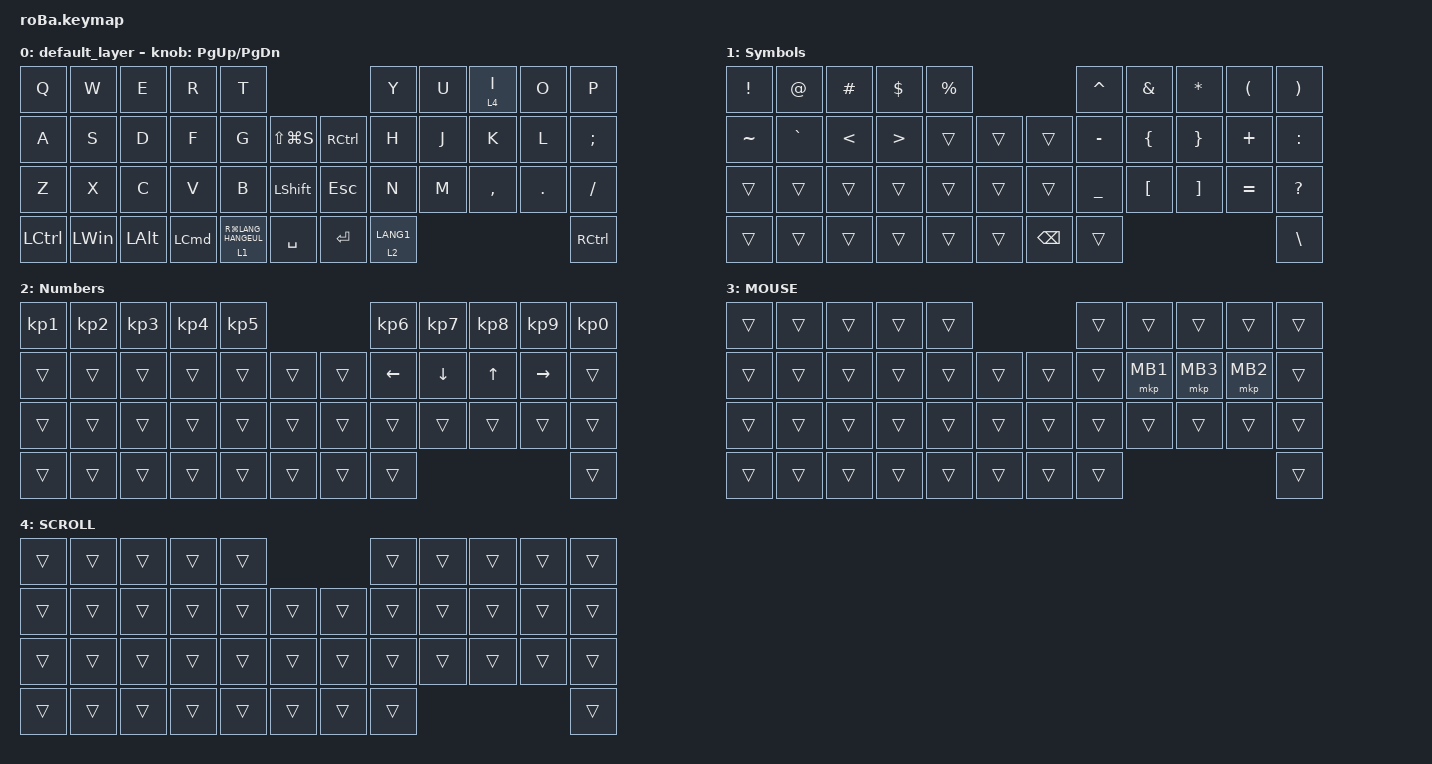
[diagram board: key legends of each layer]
#include <behaviors.dtsi>
#include <dt-bindings/zmk/keys.h>
#include <dt-bindings/zmk/pointing.h>

#define MOUSE 3
#define SCROLL 4

&mt {
    flavor = "balanced";
    quick-tap-ms = <0>;
};

/ {
    combos {
        compatible = "zmk,combos";

        tab {
            bindings = <&kp TAB>;
            key-positions = <11 12>;
        };

        shift_tab {
            bindings = <&kp LS(TAB)>;
            key-positions = <12 13>;
        };

        muhennkann {
            bindings = <&to_layer_0 INT_MUHENKAN>;
            key-positions = <11 10>;
        };

        double_quotation {
            bindings = <&kp DOUBLE_QUOTES>;
            key-positions = <20 21>;
        };

        eq {
            bindings = <&kp EQUAL>;
            key-positions = <24 25>;
        };
    };

    macros {
        to_layer_0: to_layer_0 {
            compatible = "zmk,behavior-macro-one-param";
            #binding-cells = <1>;
            bindings = <&to 0 &macro_param_1to1 &kp MACRO_PLACEHOLDER>;
            label = "TO_LAYER_0";
        };
    };

    behaviors {
        lt_to_layer_0: lt_to_layer_0 {
            compatible = "zmk,behavior-hold-tap";
            label = "LAYER_TAP_TO_0";
            bindings = <&mo>, <&to_layer_0>;

            #binding-cells = <2>;
            tapping-term-ms = <200>;
        };
    };

    keymap {
        compatible = "zmk,keymap";

        default_layer {
            bindings = <
&kp Q      &kp W         &kp E         &kp R             &kp T                                                          &kp Y        &kp U  &lt 4 I    &kp O    &kp P
&kp A      &kp S         &kp D         &kp F             &kp G                   &kp LS(LG(S))       &kp RIGHT_CONTROL  &kp H        &kp J  &kp K      &kp L    &kp SEMICOLON
&kp Z      &kp X         &kp C         &kp V             &kp B                   &kp LEFT_SHIFT      &kp ESCAPE         &kp N        &kp M  &kp COMMA  &kp DOT  &kp SLASH
&kp LCTRL  &kp LEFT_WIN  &kp LEFT_ALT  &kp LEFT_COMMAND  &lt 1 RG(LANG_HANGEUL)  &kp SPACE           &kp ENTER          &lt 2 LANG1                             &kp RIGHT_CONTROL
            >;

            sensor-bindings = <&inc_dec_kp PG_UP PAGE_DOWN>;
        };

        Symbols {
            bindings = <
&kp EXCLAMATION  &kp AT_SIGN  &kp HASH       &kp DOLLAR        &kp PERCENT                             &kp CARET       &kp AMPERSAND     &kp ASTERISK       &kp LEFT_PARENTHESIS  &kp RIGHT_PARENTHESIS
&kp TILDE        &kp GRAVE    &kp LESS_THAN  &kp GREATER_THAN  &trans       &trans      &trans         &kp MINUS       &kp LEFT_BRACE    &kp RIGHT_BRACE    &kp PLUS              &kp COLON
&trans           &trans       &trans         &trans            &trans       &trans      &trans         &kp UNDERSCORE  &kp LEFT_BRACKET  &kp RIGHT_BRACKET  &kp EQUAL             &kp QUESTION
&trans           &trans       &trans         &trans            &trans       &trans      &kp BACKSPACE  &trans                                                                     &kp BACKSLASH
            >;
        };

        Numbers {
            bindings = <
&kp KP_NUMBER_1  &kp KP_NUMBER_2  &kp KP_NUMBER_3  &kp KP_NUMBER_4  &kp KP_NUMBER_5                      &kp KP_NUMBER_6  &kp KP_NUMBER_7  &kp KP_NUMBER_8  &kp KP_NUMBER_9  &kp KP_NUMBER_0
&trans           &trans           &trans           &trans           &trans           &trans      &trans  &kp LEFT         &kp DOWN         &kp UP_ARROW     &kp RIGHT        &trans
&trans           &trans           &trans           &trans           &trans           &trans      &trans  &trans           &trans           &trans           &trans           &trans
&trans           &trans           &trans           &trans           &trans           &trans      &trans  &trans                                                              &trans
            >;
        };

        MOUSE {
            bindings = <
&trans  &trans  &trans  &trans  &trans                      &trans  &trans    &trans    &trans    &trans
&trans  &trans  &trans  &trans  &trans  &trans      &trans  &trans  &mkp MB1  &mkp MB3  &mkp MB2  &trans
&trans  &trans  &trans  &trans  &trans  &trans      &trans  &trans  &trans    &trans    &trans    &trans
&trans  &trans  &trans  &trans  &trans  &trans      &trans  &trans                                &trans
            >;
        };

        SCROLL {
            bindings = <
&trans  &trans  &trans  &trans  &trans                      &trans  &trans  &trans  &trans  &trans
&trans  &trans  &trans  &trans  &trans  &trans      &trans  &trans  &trans  &trans  &trans  &trans
&trans  &trans  &trans  &trans  &trans  &trans      &trans  &trans  &trans  &trans  &trans  &trans
&trans  &trans  &trans  &trans  &trans  &trans      &trans  &trans                          &trans
            >;
        };
    };
};
